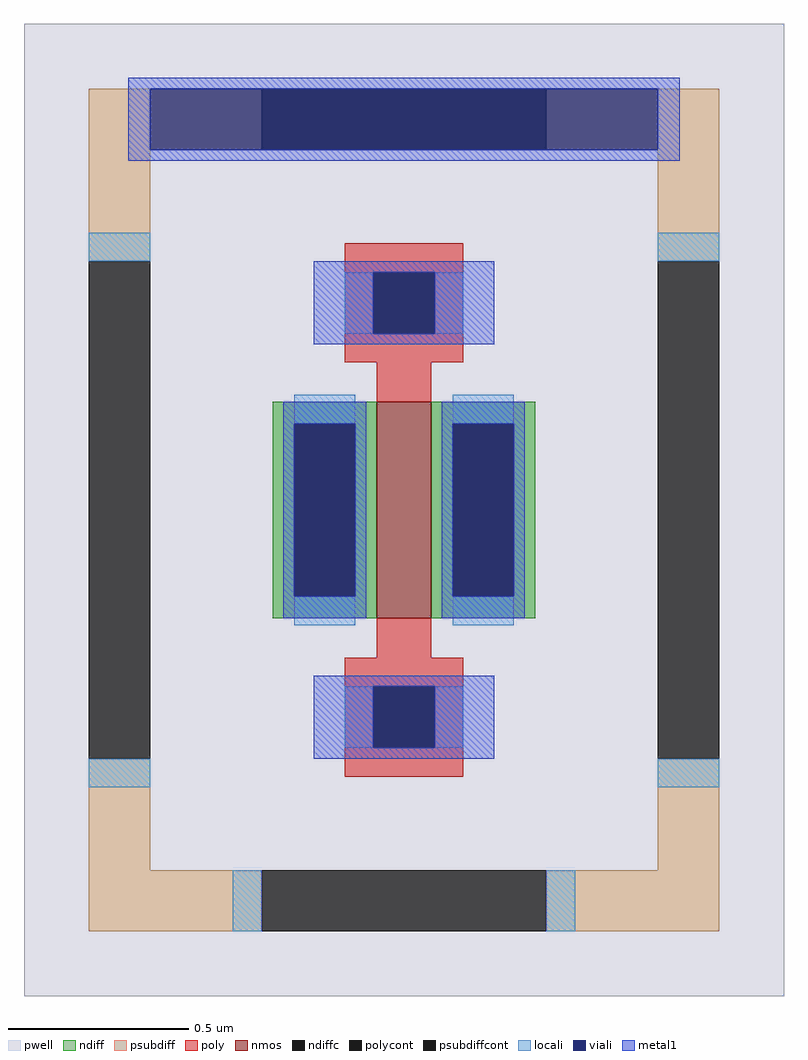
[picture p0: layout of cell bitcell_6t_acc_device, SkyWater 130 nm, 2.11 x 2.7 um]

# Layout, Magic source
magic
tech sky130A
magscale 1 2
<< pwell >>
rect -211 -270 211 270
<< nmos >>
rect -15 -60 15 60
<< ndiff >>
rect -73 48 -15 60
rect -73 -48 -61 48
rect -27 -48 -15 48
rect -73 -60 -15 -48
rect 15 48 73 60
rect 15 -48 27 48
rect 61 -48 73 48
rect 15 -60 73 -48
<< ndiffc >>
rect -61 -48 -27 48
rect 27 -48 61 48
<< psubdiff >>
rect -175 200 -79 234
rect 79 200 175 234
rect -175 138 -141 200
rect 141 138 175 200
rect -175 -200 -141 -138
rect 141 -200 175 -138
rect -175 -234 -79 -200
rect 79 -234 175 -200
<< psubdiffcont >>
rect -79 200 79 234
rect -175 -138 -141 138
rect 141 -138 175 138
rect -79 -234 79 -200
<< poly >>
rect -33 132 33 148
rect -33 98 -17 132
rect 17 98 33 132
rect -33 82 33 98
rect -15 60 15 82
rect -15 -82 15 -60
rect -33 -98 33 -82
rect -33 -132 -17 -98
rect 17 -132 33 -98
rect -33 -148 33 -132
<< polycont >>
rect -17 98 17 132
rect -17 -132 17 -98
<< locali >>
rect -175 138 -141 154
rect 141 138 175 154
rect -33 98 -17 132
rect 17 98 33 132
rect -61 48 -27 64
rect -61 -64 -27 -48
rect 27 48 61 64
rect 27 -64 61 -48
rect -33 -132 -17 -98
rect 17 -132 33 -98
rect -175 -154 -141 -138
rect 141 -154 175 -138
rect -95 -234 -79 -200
rect 79 -234 95 -200
<< viali >>
rect -141 200 -79 234
rect -79 200 79 234
rect 79 200 141 234
rect -17 98 17 132
rect -61 -48 -27 48
rect 27 -48 61 48
rect -17 -132 17 -98
<< metal1 >>
rect -153 234 153 240
rect -153 200 -141 234
rect 141 200 153 234
rect -153 194 153 200
rect -50 132 50 138
rect -50 98 -17 132
rect 17 98 50 132
rect -50 92 50 98
rect -67 48 -21 60
rect -67 -48 -61 48
rect -27 -48 -21 48
rect -67 -60 -21 -48
rect 21 48 67 60
rect 21 -48 27 48
rect 61 -48 67 48
rect 21 -60 67 -48
rect -50 -98 50 -92
rect -50 -132 -17 -98
rect 17 -132 50 -98
rect -50 -138 50 -132
<< properties >>
string FIXED_BBOX -158 -217 158 217
string library sky130
string parameters w 0.6 l 0.15 m 1 nf 1 diffcov 100 polycov 100 guard 1 glc 1 grc 1 gtc 1 gbc 1 tbcov 100 rlcov 100 topc 1 botc 1 poverlap 0 doverlap 1 lmin 0.15 wmin 0.42 class mosfet compatible {sky130_fd_pr__nfet_01v8 sky130_fd_pr__nfet_01v8_lvt  sky130_fd_bs_flash__special_sonosfet_star  sky130_fd_pr__nfet_g5v0d10v5 sky130_fd_pr__nfet_05v0_nvt  sky130_fd_pr__nfet_03v3_nvt} full_metal 0 viasrc 100 viadrn 100 viagate 100 viagb 0 viagr 0 viagl 0 viagt 100
<< end >>
